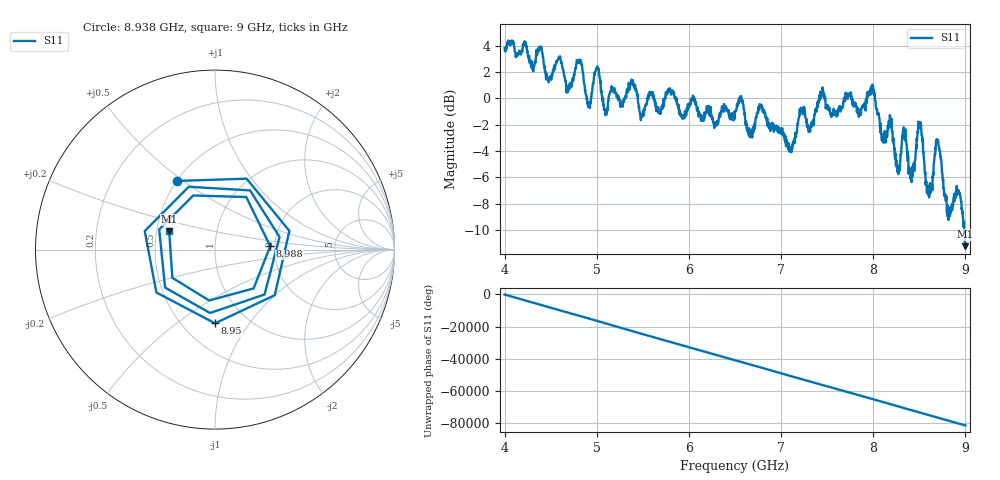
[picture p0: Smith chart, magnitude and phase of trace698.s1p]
! Created with skrf 1.8.0 (http://scikit-rf.org).
# Hz S RI R 50.0
!freq ReS11 ImS11
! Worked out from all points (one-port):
!   1601 points, 4 GHz to 9 GHz, reference 50 ohm
!   lowest |S11| = -11.2 dB at 9 GHz (marker M1), VSWR 1.76, Z = 29.1 + j6.4 ohm
!   |S11| at or under -10 dB: 8.987 GHz to end of sweep
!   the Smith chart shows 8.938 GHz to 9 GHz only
!   S11 on the Smith chart (normalised r, x): 8.938 GHz: 0.50, +0.47; 8.95 GHz: 0.71, -0.70; 8.988 GHz: 1.89, +0.08; 9 GHz: 0.58, +0.13
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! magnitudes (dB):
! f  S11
! 4 GHz  3.8
! 4.625 GHz  2.4
! 4.694 GHz  0.7
! 4.816 GHz  2.9
! 4.909 GHz  -0.5
! 5 GHz  2.3
! 5.094 GHz  -1.3
! 5.25 GHz  -0.2
! 5.875 GHz  -0.4
! 6.5 GHz  -1.1
! 6.672 GHz  -2.4
! 6.781 GHz  -0.7
! 7.125 GHz  -3.5
! 7.228 GHz  -1.0
! 7.75 GHz  0.4
! 7.991 GHz  1.0
! 8.262 GHz  -5.4
! 8.334 GHz  -2.5
! 8.375 GHz  -4.8
! 8.431 GHz  -5.5
! 8.506 GHz  -1.9
! 8.6 GHz  -7.0
! 8.7 GHz  -3.4
! 8.809 GHz  -8.6
! 8.938 GHz  -7.2
! 8.95 GHz  -7.7
! 8.988 GHz  -10.2
! 9 GHz  -11.2
